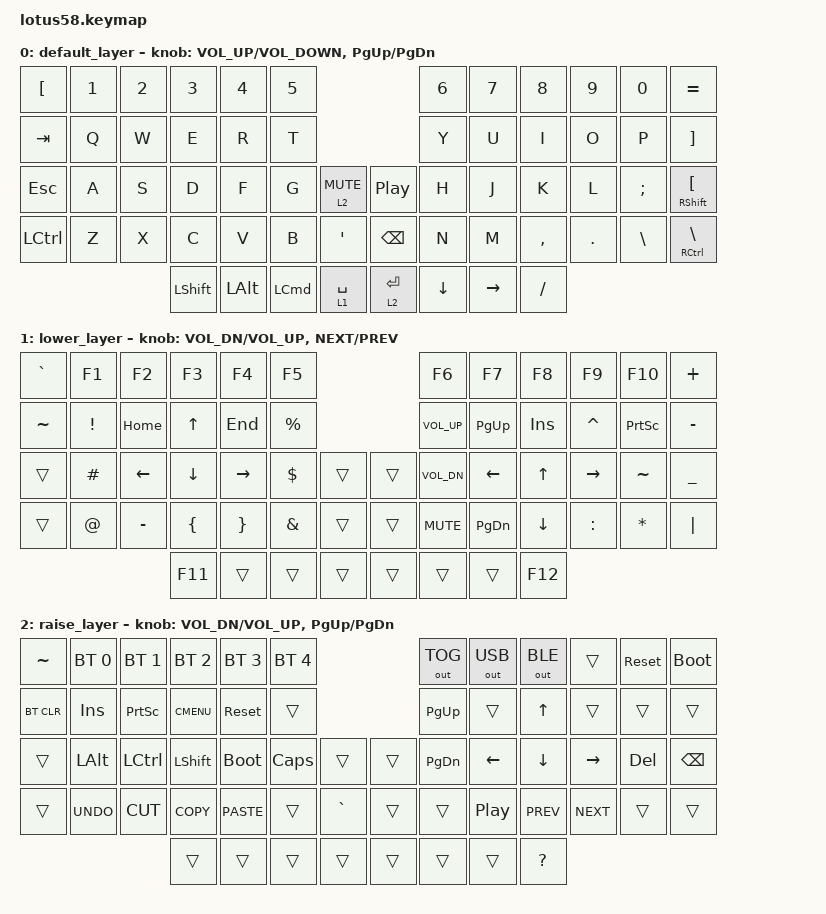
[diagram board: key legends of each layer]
/*
 * Copyright (c) 2022 The ZMK Contributors
 *
 * SPDX-License-Identifier: MIT
 */

#include <behaviors.dtsi>
#include <dt-bindings/zmk/bt.h>
#include <dt-bindings/zmk/keys.h>
#include <dt-bindings/zmk/outputs.h>

/ {
    combos {
        compatible = "zmk,combos";

        combo_dsklg {
            timeout-ms = <100>;
            key-positions = <24 52>;
            layers = <0>;
            bindings = <&kp LGUI>;
        };
    };

    behaviors {
        fofunc: four_ffour {
            compatible = "zmk,behavior-mod-morph";
            #binding-cells = <0>;
            bindings = <&kp N4>, <&kp F4>;

            mods = <(MOD_LALT|MOD_RALT)>;
        };

        sleft: s_left {
            compatible = "zmk,behavior-mod-morph";
            #binding-cells = <0>;
            bindings = <&kp S>, <&kp LEFT>;

            mods = <(MOD_LGUI|MOD_RGUI)>;
        };

        fright: f_right {
            compatible = "zmk,behavior-mod-morph";
            #binding-cells = <0>;
            bindings = <&kp F>, <&kp RIGHT>;

            mods = <(MOD_LGUI|MOD_RGUI)>;
        };
    };

    keymap {
        compatible = "zmk,keymap";

        default_layer {
            //   ------------------------------------------------------------------------------------------------------------
            //  0|  ESC  |  1  |  2  |  3   |  4   |  5   |                     |  6   |  7    |  8    |  9   |   0   |   =   | 11
            // 12|  TAB  |  Q  |  W  |  E   |  R   |  T   |                     |  Y   |  U    |  I    |  O   |   P   |   [   | 23
            // 24|  SFT  |  A  |  S  |  D   |  F   |  G   |  RESET  |  | RESET  |  H   |  J    |  K    |  L   |   ;   | ' SFT | 37
            // 38|  CTRL |  Z  |  X  |  C   |  V   |  B   |  MUTE   |  | PLAY   |  N   |  M    |  ,    |  .   |   /   | \ CTRL| 51
            // 52                    |ENT RS|  ALT | SPACE|DELETE LW|  |ENTER RS| BSPC |  ] LW | RGUI  |                        59

            bindings = <
&kp LEFT_BRACKET  &kp N1  &kp N2  &kp N3          &kp NUMBER_4  &kp N5                                         &kp N6    &kp N7     &kp N8     &kp N9   &kp N0    &kp EQUAL
&kp TAB           &kp Q   &kp W   &kp E           &kp R         &kp T                                          &kp Y     &kp U      &kp I      &kp O    &kp P     &kp RIGHT_BRACKET
&kp ESCAPE        &kp A   &kp S   &kp D           &kp F         &kp G             &lt 2 C_MUTE  &kp C_PP       &kp H     &kp J      &kp K      &kp L    &kp SEMI  &mt RSHFT LEFT_BRACKET
&kp LEFT_CONTROL  &kp Z   &kp X   &kp C           &kp V         &kp B             &kp SQT       &kp BACKSPACE  &kp N     &kp M      &kp COMMA  &kp DOT  &kp BSLH  &mt RCTRL BSLH
                                  &kp LEFT_SHIFT  &kp LEFT_ALT  &kp LEFT_COMMAND  &lt 1 SPACE   &lt 2 RET      &kp DOWN  &kp RIGHT  &kp SLASH
            >;

            sensor-bindings =
                <&inc_dec_kp C_VOLUME_UP C_VOLUME_DOWN>,
                <&inc_dec_kp PG_UP PG_DN>;
        };

        lower_layer {
            // ------------------------------------------------------------------------------------------------------------
            // | `     |  F1 |  F2 |  F3  |  F4  |  F5  |                   |  F6  |  F7   |  F8   |  F9  |  F10  |  F11  |
            // |       |  !  | HOME|   ^  |  END |  %   |                   | VOL^ |  PGUP |  INS  |  ^   |  PSCR |   -   |
            // |       |  #  |  <- |   v  | ->   |  $   |        |  |       | VOLv |    <- |   ^   |  ->  |   ~   |   _   |
            // |       |  @  |  -  |  (   |  )   |  &   |        |  |       | MUTE |  PGDN |   v   |  :   |   *   |   |   |
            //                     |  F11 |      |      |        |  |       |      |       |  F12  |

            bindings = <
&kp GRAVE  &kp F1    &kp F2     &kp F3    &kp F4     &kp F5                     &kp F6        &kp F7     &kp F8    &kp F9     &kp F10    &kp PLUS
&kp TILDE  &kp EXCL  &kp HOME   &kp UP    &kp END    &kp PRCNT                  &kp C_VOL_UP  &kp PG_UP  &kp INS   &kp CARET  &kp PSCRN  &kp MINUS
&trans     &kp HASH  &kp LEFT   &kp DOWN  &kp RIGHT  &kp DLLR   &trans  &trans  &kp C_VOL_DN  &kp LEFT   &kp UP    &kp RIGHT  &kp TILDE  &kp UNDER
&trans     &kp AT    &kp MINUS  &kp LBRC  &kp RBRC   &kp AMPS   &trans  &trans  &kp C_MUTE    &kp PG_DN  &kp DOWN  &kp COLON  &kp STAR   &kp PIPE
                                &kp F11   &trans     &trans     &trans  &trans  &trans        &trans     &kp F12
            >;

            sensor-bindings = <&inc_dec_kp C_VOL_DN C_VOL_UP &inc_dec_kp C_NEXT C_PREV>;
        };

        raise_layer {
            // ------------------------------------------------------------------------------------------------------------
            // |BTCLR| BT1  | BT2  |  BT3  |  BT4  |  BT5 |                |OUTTOG|OUTUSB| OUTBT |      | RESET | FLASH |
            // |     | INS  | PSCR | GUI   | RESET |      |                | PGUP |      |   ^   |      |       |       |
            // |     | ALT  | CTRL | SHIFT | FLASH | CAPS |      |  |      | PGDN |   <- |   v   |  ->  |  DEL  | BSPC  |
            // |     | UNDO | CUT  | COPY  | PASTE |      |      |  |      |      |  |>  |  <|<| | |>|> |       |       |
            //                     |       |       |      |      |  |      |      |      |       |

            bindings = <
&kp TILDE   &bt BT_SEL 0  &bt BT_SEL 1  &bt BT_SEL 2  &bt BT_SEL 3  &bt BT_SEL 4                     &out OUT_TOG  &out OUT_USB  &out OUT_BLE  &trans      &sys_reset  &bootloader
&bt BT_CLR  &kp INS       &kp PSCRN     &kp K_CMENU   &sys_reset    &trans                           &kp PG_UP     &trans        &kp UP        &trans      &trans      &trans
&trans      &kp LALT      &kp LCTRL     &kp LSHFT     &bootloader   &kp CLCK      &trans     &trans  &kp PG_DN     &kp LEFT      &kp DOWN      &kp RIGHT   &kp DEL     &kp BSPC
&trans      &kp K_UNDO    &kp K_CUT     &kp K_COPY    &kp K_PASTE   &trans        &kp GRAVE  &trans  &trans        &kp C_PP      &kp C_PREV    &kp C_NEXT  &trans      &trans
                                        &trans        &trans        &trans        &trans     &trans  &trans        &trans        &kp QUESTION
            >;

            sensor-bindings = <&inc_dec_kp C_VOL_DN C_VOL_UP &inc_dec_kp PG_UP PG_DN>;
        };
    };
};
